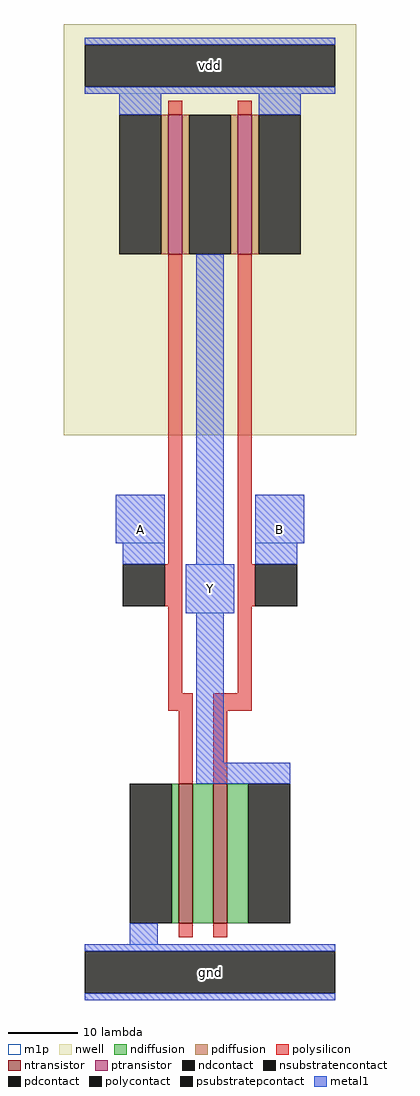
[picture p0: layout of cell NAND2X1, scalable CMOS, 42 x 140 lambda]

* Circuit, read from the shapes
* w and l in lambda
.subckt NAND2X1 A B Y vdd gnd
M1 n1 A gnd gnd nfet w=20 l=2
M2 Y B n1 gnd nfet w=20 l=2
M3 Y A vdd vdd pfet w=20 l=2
M4 vdd B Y vdd pfet w=20 l=2
.ends

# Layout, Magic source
magic
tech scmos
magscale 1 2
<< nwell >>
rect -12 154 72 272
<< ntransistor >>
rect 21 14 25 54
rect 31 14 35 54
<< ptransistor >>
rect 18 206 22 246
rect 38 206 42 246
<< ndiffusion >>
rect 19 14 21 54
rect 25 14 31 54
rect 35 14 41 54
<< pdiffusion >>
rect 16 206 18 246
rect 22 206 24 246
rect 36 206 38 246
rect 42 206 44 246
<< ndcontact >>
rect 7 14 19 54
rect 41 14 53 54
<< pdcontact >>
rect 4 206 16 246
rect 24 206 36 246
rect 44 206 56 246
<< psubstratepcontact >>
rect -6 -6 66 6
<< nsubstratencontact >>
rect -6 254 66 266
<< polysilicon >>
rect 18 246 22 250
rect 38 246 42 250
rect 18 117 22 206
rect 17 105 22 117
rect 18 80 22 105
rect 38 117 42 206
rect 38 105 43 117
rect 38 80 42 105
rect 18 75 25 80
rect 21 54 25 75
rect 31 75 42 80
rect 31 54 35 75
rect 21 10 25 14
rect 31 10 35 14
<< polycontact >>
rect 5 105 17 117
rect 43 105 55 117
<< metal1 >>
rect -6 266 66 268
rect -6 252 66 254
rect 4 246 16 252
rect 44 246 56 252
rect 3 123 17 137
rect 5 117 17 123
rect 26 117 34 206
rect 43 123 57 137
rect 43 117 55 123
rect 23 103 37 117
rect 26 60 34 103
rect 26 54 53 60
rect 7 8 15 14
rect -6 6 66 8
rect -6 -8 66 -6
<< m1p >>
rect -6 252 66 268
rect 3 123 17 137
rect 43 123 57 137
rect 23 103 37 117
rect -6 -8 66 8
<< labels >>
rlabel nsubstratencontact 30 260 30 260 0 vdd
port 4 nsew power bidirectional abutment
rlabel psubstratepcontact 30 0 30 0 0 gnd
port 5 nsew ground bidirectional abutment
rlabel metal1 10 127 10 127 0 A
port 1 nsew signal input
rlabel metal1 50 127 50 127 0 B
port 2 nsew signal input
rlabel metal1 30 110 30 110 0 Y
port 3 nsew signal output
<< properties >>
string FIXED_BBOX 0 0 60 260
string LEFclass CORE
string LEFsite core
string LEFsymmetry X Y
<< end >>
